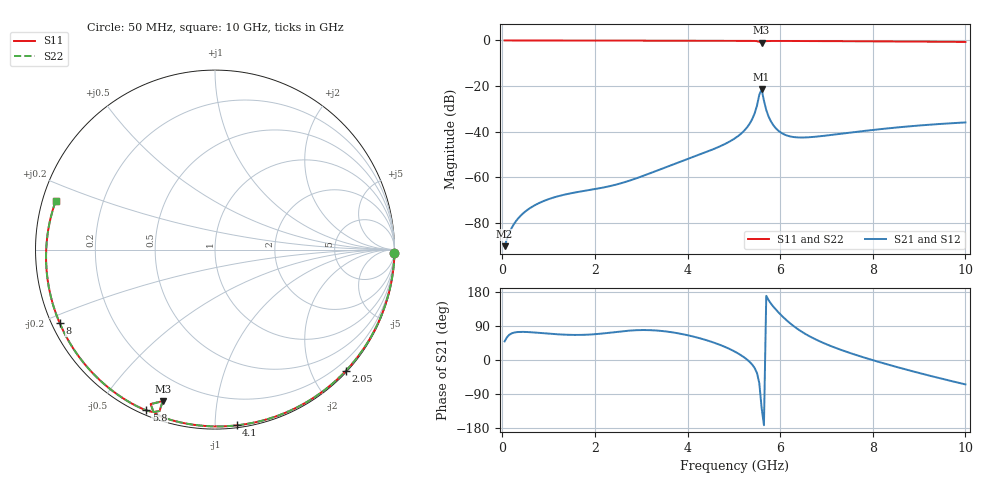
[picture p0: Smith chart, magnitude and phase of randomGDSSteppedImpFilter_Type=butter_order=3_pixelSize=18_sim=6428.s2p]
! freq	dB(S11)	phase(S11)	dB(S12)	phase(S12)
!  dB(S21)	phase(S21)	dB(S22)	phase(S22)
!S-par simulation data
#  GHz  S  DB  R 50
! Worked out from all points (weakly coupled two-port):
!   200 points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, 50 MHz to 10 GHz, reference 50 ohm
!   highest |S21| = -21.51 dB at 5.6 GHz (marker M1); lowest = -90.3 dB at 50 MHz (marker M2)
!   lowest |S11| = -1.0 dB at 5.6 GHz (marker M3), VSWR 17.67, Z = 4.26 - j35.5 ohm
!   |S11| at or under -10 dB: nowhere
!   |S22| runs from -1.0 to 0.0 dB; largest |S21 - S12| = 0
!   S11 on the Smith chart (normalised r, x): 50 MHz: open; 2.05 GHz: 0.02, -2.55; 4.1 GHz: 0.02, -1.13; 5.8 GHz: 0.02, -0.66; 8 GHz: 0.02, -0.22; 10 GHz: 0.04, +0.15
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0.05  -0.00 -1.1  -90.35 49.1  -90.35 49.1  -0.00 -1.1
0.25  -0.00 -5.3  -80.69 72.1  -80.69 72.1  -0.00 -5.3
0.55  -0.01 -11.7  -74.30 73.8  -74.30 73.8  -0.01 -11.7
0.9  -0.02 -19.1  -70.46 70.5  -70.46 70.5  -0.02 -19.1
1.75  -0.05 -36.7  -66.13 66.4  -66.13 66.4  -0.05 -36.7
2.05  -0.05 -42.8  -65.10 68.6  -65.10 68.6  -0.05 -42.8
3.4  -0.09 -69.6  -56.71 77.1  -56.71 77.1  -0.09 -69.6
4.1  -0.12 -83.0  -51.35 62.6  -51.35 62.6  -0.12 -83.0
5.05  -0.16 -100.9  -42.61 20.2  -42.61 20.2  -0.16 -100.9
5.25  -0.17 -104.8  -39.04 4.5  -39.04 4.5  -0.17 -104.8
5.4  -0.20 -108.0  -34.41 -12.7  -34.41 -12.7  -0.20 -108.0
5.5  -0.31 -110.9  -28.61 -34.3  -28.61 -34.3  -0.31 -110.8
5.55  -0.61 -112.6  -23.81 -61.4  -23.81 -61.4  -0.61 -112.6
5.6  -0.98 -109.1  -21.51 -126.7  -21.51 -126.7  -0.98 -109.0
5.7  -0.29 -110.6  -30.55 169.3  -30.55 169.3  -0.29 -110.6
5.8  -0.23 -113.2  -35.53 149.1  -35.53 149.1  -0.23 -113.2
5.95  -0.22 -116.3  -39.43 127.4  -39.43 127.4  -0.22 -116.3
6.15  -0.22 -120.2  -41.77 103.6  -41.77 103.6  -0.22 -120.1
6.7  -0.26 -130.3  -42.39 58.4  -42.39 58.4  -0.26 -130.3
8  -0.38 -154.7  -39.31 -0.4  -39.31 -0.4  -0.38 -154.6
8.35  -0.42 -161.5  -38.55 -12.8  -38.55 -12.8  -0.42 -161.4
10  -0.65 163.0  -36.01 -64.3  -36.01 -64.3  -0.65 163.0
